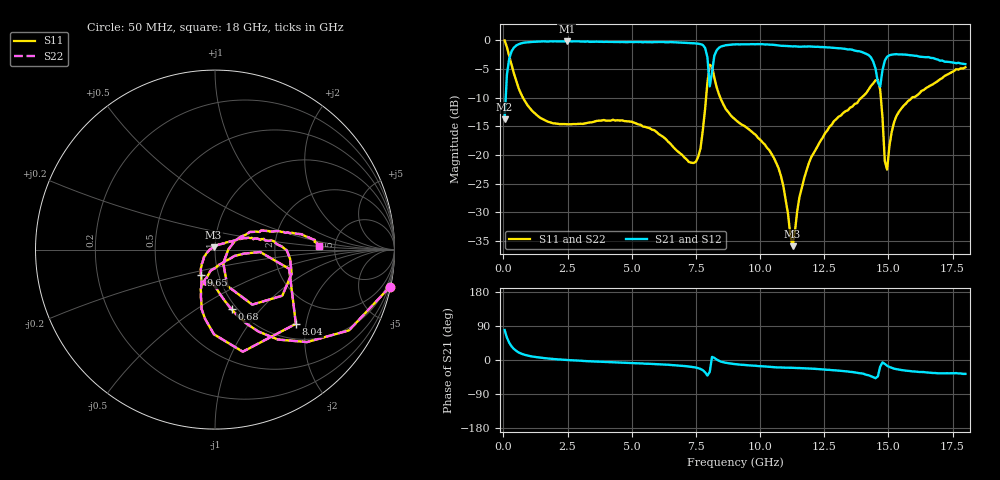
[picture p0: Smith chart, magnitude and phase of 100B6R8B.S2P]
!  American Technical Ceramics  Date:  3/13/98
!  One Norden Lane
!  Huntington Station,  NY.  11746-2102
!  Tel:  (516) 547-5700  Fax:  (516) 547-5748
!  Part Number  100b6r8b
!  Description: Porcelain, High Q, Low ESR
!  Application: Bypass, Coupling, Timing, Feedback
!  Tuning, Impedance Match, Blocking
# GHZ S DB R 50
! Freq  |S11|  S11 Ph  |S21|  S21 Ph  |S12|  S12 Ph  |S22|  S22 Ph
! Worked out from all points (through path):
!   201 points, 50 MHz to 18 GHz, reference 50 ohm
!   highest |S21| = -0.17 dB at 2.47 GHz (marker M1); lowest = -13.8 dB at 50 MHz (marker M2)
!   lowest |S11| = -35.9 dB at 11.27 GHz (marker M3), VSWR 1.03, Z = 49.2 + j1.36 ohm
!   |S11| at or under -10 dB: 763.4 MHz to 7.899 GHz (7.135 GHz wide, 165 % of centre); 8.453 GHz to 13.95 GHz (5.499 GHz wide, 49.1 % of centre); 14.71 GHz to 15.92 GHz (1.216 GHz wide, 7.94 % of centre)
!   |S22| runs from -35.9 to 0.0 dB; largest |S21 - S12| = 0
!   S11 on the Smith chart (normalised r, x): 50 MHz: 0.16, -9.52; 680 MHz: 0.94, -0.71; 8.04 GHz: 1.32, -1.75; 9.65 GHz: 0.82, -0.24; 18 GHz: 3.76, +0.24
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0.05  -0.03 -12.0  -13.80 79.1  -13.80 79.1  -0.03 -12.0
0.23  -2.77 -45.1  -3.19 45.6  -3.19 45.6  -2.77 -45.1
0.68  -9.24 -74.5  -0.55 17.4  -0.55 17.4  -9.24 -74.5
2.47  -14.64 -99.0  -0.17 0.1  -0.17 0.1  -14.64 -99.0
3.1  -14.57 -103.0  -0.22 -2.4  -0.22 -2.4  -14.57 -103.0
6.06  -16.36 -105.3  -0.31 -11.3  -0.31 -11.3  -16.36 -105.3
7.5  -21.18 -45.8  -0.55 -19.8  -0.55 -19.8  -21.18 -45.8
7.86  -11.97 -3.1  -1.32 -32.3  -1.32 -32.3  -11.97 -3.1
8.04  -4.27 -42.5  -8.04 -31.5  -8.04 -31.5  -4.27 -42.5
8.13  -4.59 -74.8  -5.60 8.2  -5.60 8.2  -4.59 -74.8
8.31  -8.19 -98.2  -1.75 1.2  -1.75 1.2  -8.19 -98.2
9.03  -13.80 -111.5  -0.71 -10.8  -0.71 -10.8  -13.80 -111.5
9.65  -15.83 -118.6  -0.67 -14.5  -0.67 -14.5  -15.83 -118.6
10.73  -22.40 -145.3  -0.90 -19.8  -0.90 -19.8  -22.40 -145.3
11.27  -35.89 120.4  -1.07 -20.6  -1.07 -20.6  -35.89 120.4
12.08  -19.74 26.6  -1.10 -23.0  -1.10 -23.0  -19.74 26.6
14.05  -9.60 8.0  -2.20 -36.8  -2.20 -36.8  -9.60 8.0
14.59  -6.85 -34.4  -7.29 -43.4  -7.29 -43.4  -6.85 -34.4
14.86  -21.03 -58.7  -3.56 -10.3  -3.56 -10.3  -21.03 -58.7
15.04  -18.41 23.3  -2.61 -18.4  -2.61 -18.4  -18.41 23.3
15.76  -10.61 20.9  -2.56 -28.6  -2.56 -28.6  -10.61 20.9
18  -4.71 2.1  -4.15 -36.6  -4.15 -36.6  -4.71 2.1
